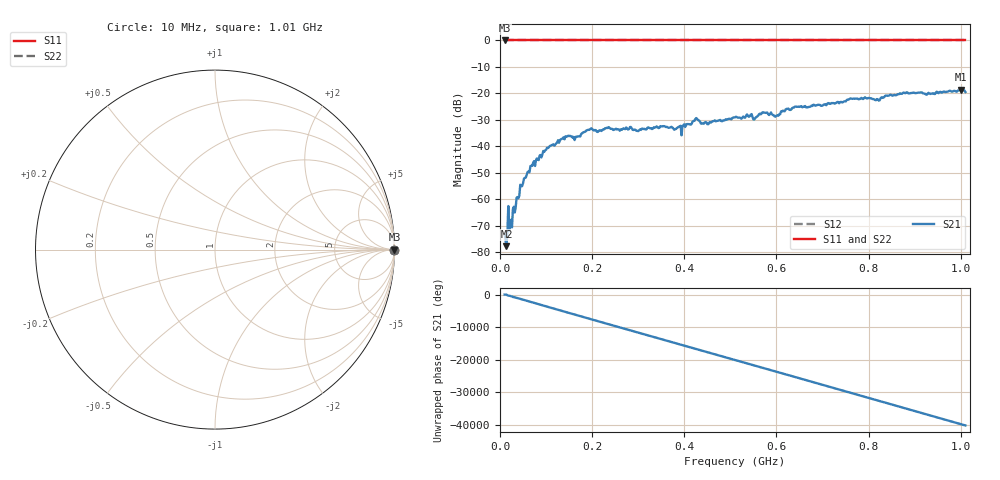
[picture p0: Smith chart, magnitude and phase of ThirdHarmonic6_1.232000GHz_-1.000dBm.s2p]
! 8/16/2025 1:01:19 PM
! C:\ANRITSUVNA\TEMP\TEMP.S2P
! CHANNEL.1
! TR.MEASUREMENT
! RAW.DATA
! RF.CORRECTION.OFF
! AVERAGING.OFF
! IF.BANDWIDTH: 5KHZ
! SWEEPTYPE:  FREQ.SWEEP(Linear)
! Reference Plane Port Info
! PORT:  PORT1  PORT2
! DISTANCE:  0  m  0  m
! TIME:  0  s  0  s
! PHASE.OFFSET:  0  deg.  0  deg.
! LOSS:  0  dB  0  dB
! REF.LOSS:  0  dB  0  dB
! REF.FREQ:  0  Hz  0  Hz
! Power Info
! POWER:  -20  dBm  -20  dBm
! EFF.POWER:  -20  dBm  -20  dBm
! SOURCE.ATTEN:  0  dB  0  dB
! TEST.ATTEN:  0  dB  0  dB
# GHZ S RI R 50.0
! FREQ.GHZ  S11RE  S11IM  S21RE  S21IM  S12RE  S12IM  S22RE  S22IM
!; PortSelection: Port_12
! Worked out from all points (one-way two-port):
!   501 points, 10 MHz to 1.01 GHz, reference 50 ohm
!   highest |S21| = -18.59 dB at 1 GHz (marker M1); lowest = -77.6 dB at 14 MHz (marker M2)
!   lowest |S11| = 0.0 dB at 10 MHz (marker M3)
!   |S11| at or under -10 dB: nowhere
!   |S22| runs from 0.0 to 0.0 dB; largest |S21 - S12| = 1.1
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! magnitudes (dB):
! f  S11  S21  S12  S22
! 10 MHz  0.0  -73.0  0.0  0.0
! 14 MHz  0.0  -77.6  0.0  0.0
! 20 MHz  0.0  -71.8  0.0  0.0
! 24 MHz  0.0  -67.6  0.0  0.0
! 48 MHz  0.0  -55.0  0.0  0.0
! 70 MHz  0.0  -47.3  0.0  0.0
! 134 MHz  0.0  -37.1  0.0  0.0
! 178 MHz  0.0  -35.0  0.0  0.0
! 196 MHz  0.0  -33.4  0.0  0.0
! 344 MHz  0.0  -33.1  0.0  0.0
! 390 MHz  0.0  -32.4  0.0  0.0
! 426 MHz  0.0  -29.3  0.0  0.0
! 454 MHz  0.0  -31.0  0.0  0.0
! 510 MHz  0.0  -29.0  0.0  0.0
! 554 MHz  0.0  -29.2  0.0  0.0
! 574 MHz  0.0  -27.3  0.0  0.0
! 600 MHz  0.0  -28.4  0.0  0.0
! 624 MHz  0.0  -25.8  0.0  0.0
! 678 MHz  0.0  -24.7  0.0  0.0
! 844 MHz  0.0  -20.8  0.0  0.0
! 1 GHz  0.0  -18.6  0.0  0.0
! 1.01 GHz  0.0  -19.5  0.0  0.0
